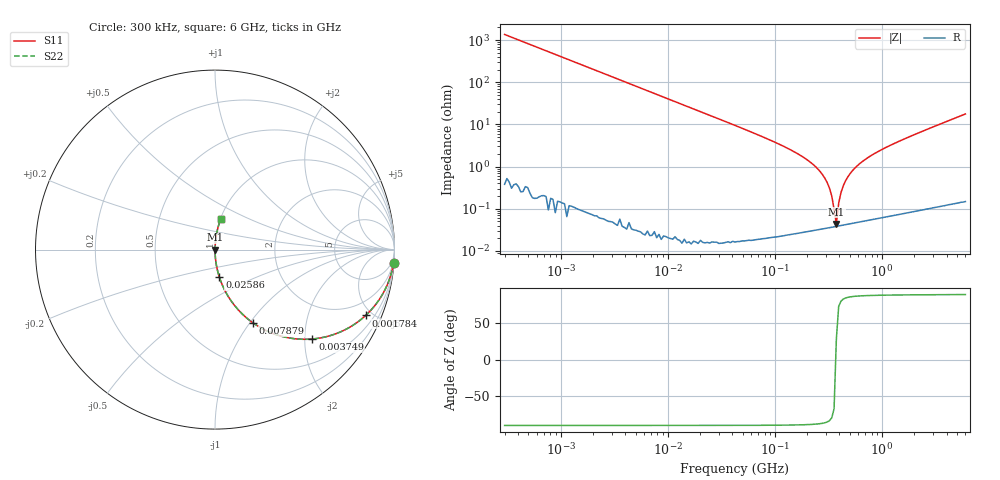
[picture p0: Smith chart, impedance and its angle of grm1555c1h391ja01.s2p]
!Murata Part Number:GRM1555C1H391JA01
!These Parameters are Measured in Series Mode Connection
!  o--ll--o
!Port1  Port2
!  o------o
!Operation Temp=25[C], DC Bias Voltage=0[V]
!Freq. Start=300[kHz] Stop=6[GHz], 201[Steps]
# Hz S DB R 50
!Freq.[Hz] MagS11[dB] PhaseS11[DEG] MagS21[dB] PhaseS21[DEG] MagS12[dB] PhaseS12[DEG] MagS22[dB] PhaseS22[DEG]
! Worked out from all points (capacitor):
!   201 points, 300 kHz to 6 GHz, reference 50 ohm
!   read as one part in series: C = 390 pF near 315.2 kHz
!   lowest |Z| = 43.3 mohm at 374.9 MHz (marker M1)
!   series resonance near 371.4 MHz, so ESL is about 470 pH
!   S11 on the Smith chart (normalised r, x): 300 kHz: 1, -27; 1.784 MHz: 1.00, -4.58; 3.749 MHz: 1.00, -2.18; 7.879 MHz: 1.00, -1.04; 25.86 MHz: 1.00, -0.31; 6 GHz: 1.00, +0.35
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300000  -0.02 -4.2  -22.70 85.8  -22.70 85.8  -0.02 -4.2
848652  -0.18 -11.8  -13.82 78.2  -13.82 78.2  -0.18 -11.8
1615461  -0.63 -21.6  -8.68 68.4  -8.68 68.4  -0.63 -21.6
1783638  -0.76 -23.6  -7.95 66.4  -7.95 66.4  -0.76 -23.6
3748728  -2.66 -42.6  -3.40 47.4  -3.40 47.4  -2.66 -42.6
7878820  -6.75 -62.6  -1.03 27.4  -1.03 27.4  -6.75 -62.6
8278779  -7.09 -63.8  -0.95 26.2  -0.95 26.2  -7.09 -63.8
1.358369e7  -10.83 -73.3  -0.38 16.7  -0.38 16.7  -10.83 -73.3
2.585739e7  -16.19 -81.0  -0.11 8.9  -0.11 8.9  -16.19 -81.0
4.242641e7  -20.49 -84.5  -0.04 5.4  -0.04 5.4  -20.49 -84.5
1.2611e8  -30.87 -87.9  -0.01 1.6  -0.01 1.6  -30.87 -87.9
2.284606e8  -39.09 -87.8  -0.00 0.6  -0.00 0.6  -39.09 -87.8
2.785043e8  -43.85 -86.7  -0.00 0.4  -0.00 0.4  -43.85 -86.7
3.231078e8  -50.21 -83.2  -0.00 0.2  -0.00 0.2  -50.21 -83.2
3.3951e8  -53.96 -79.5  -0.00 0.1  -0.00 0.1  -53.96 -79.5
3.748546e8  -67.27 28.5  -0.00 -0.0  -0.00 -0.0  -67.27 28.5
3.938837e8  -57.38 73.2  -0.00 -0.1  -0.00 -0.1  -57.38 73.2
4.138788e8  -52.32 80.4  -0.00 -0.1  -0.00 -0.1  -52.32 80.4
4.801629e8  -44.85 85.4  -0.00 -0.3  -0.00 -0.3  -44.85 85.4
6.790858e8  -37.02 87.1  -0.01 -0.8  -0.01 -0.8  -37.02 87.1
1.170796e9  -30.14 87.0  -0.01 -1.8  -0.01 -1.8  -30.14 87.0
6e9  -15.19 79.5  -0.15 -10.0  -0.15 -10.0  -15.19 79.5
